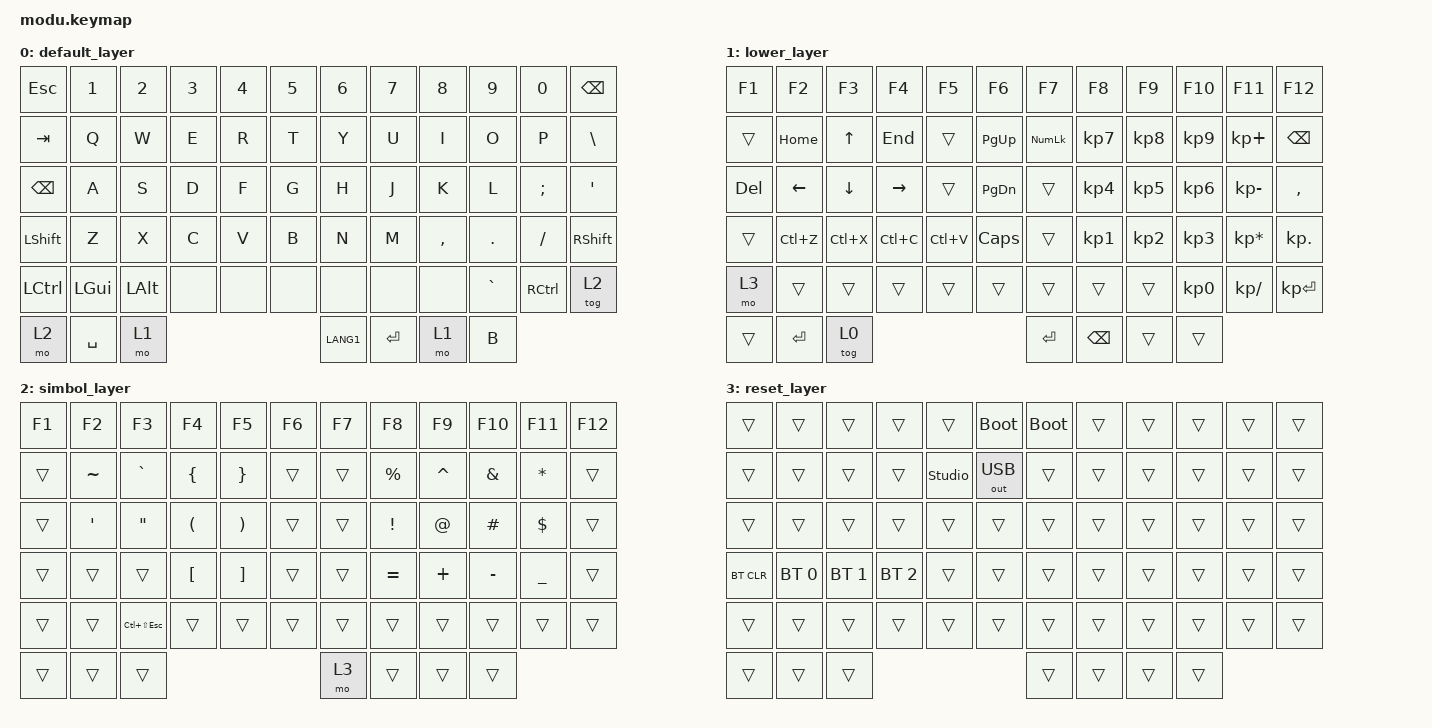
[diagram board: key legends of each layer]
/*
 * Copyright (c) 2026 EKS Inc.
 * Created by Ryu.
 * SPDX-License-Identifier: LicenseRef-EKS-NonCommercial-1.0
 *
 * Unofficial modification, based on upstream commit
 * bee0bb4b812f63f279eb67e928accc89600b5904 and customized through
 * Keymap Editor for GitHub Actions builds.
 */

#include <behaviors.dtsi>
#include <dt-bindings/zmk/bt.h>
#include <dt-bindings/zmk/keys.h>
#include <dt-bindings/zmk/outputs.h>
#include "modu-layouts.dtsi"

/ {
    combos {
        compatible = "zmk,combos";

        reset {
            bindings = <&sys_reset>;
            key-positions = <48 5 6>;
            layers = <1>;
        };
    };

    keymap {
        compatible = "zmk,keymap";

        default_layer {
            // -----------------------------------------------------------------
            // |ESC | 1  | 2  | 3  | 4  | 5  |   | 6  | 7  | 8  | 9  | 0  |DEL |
            // |TAB | Q  | W  | E  | R  | T  |   | Y  | U  | I  | O  | P  |HOME|
            // |CAPS| A  | S  | D  | F  | G  |   | H  | J  | K  | L  | ;  |PGUP|
            // |LSFT| Z  | X  | C  | V  | B  |   | N  | M  | ,  | .  | /  |PGDN|
            // |LCTL|LALT|LGUI|                                 |RALT|RCTL|END |
            //                |LANG|SPC |MO1 |   |BSPC|RET |MO1 | B  |

            bindings = <
&kp ESCAPE     &kp N1        &kp N2        &kp N3  &kp N4  &kp N5  &kp N6     &kp N7   &kp N8     &kp N9     &kp N0     &kp BACKSPACE
&kp TAB        &kp Q         &kp W         &kp E   &kp R   &kp T   &kp Y      &kp U    &kp I      &kp O      &kp P      &kp BACKSLASH
&kp BACKSPACE  &kp A         &kp S         &kp D   &kp F   &kp G   &kp H      &kp J    &kp K      &kp L      &kp SEMI   &kp SINGLE_QUOTE
&kp LSHFT      &kp Z         &kp X         &kp C   &kp V   &kp B   &kp N      &kp M    &kp COMMA  &kp DOT    &kp FSLH   &kp RIGHT_SHIFT
&kp LCTRL      &kp LEFT_GUI  &kp LEFT_ALT  &none   &none   &none   &none      &none    &none      &kp GRAVE  &kp RCTRL  &tog 2
&mo 2          &kp SPACE     &mo 1                                 &kp LANG1  &kp RET  &mo 1      &kp B
            >;
        };

        lower_layer {
            bindings = <
&kp F1   &kp F2     &kp F3     &kp F4     &kp F5     &kp F6         &kp F7          &kp F8         &kp F9     &kp F10    &kp F11          &kp F12
&trans   &kp HOME   &kp UP     &kp END    &trans     &kp PAGE_UP    &kp KP_NUMLOCK  &kp KP_N7      &kp KP_N8  &kp KP_N9  &kp KP_PLUS      &kp BSPC
&kp DEL  &kp LEFT   &kp DOWN   &kp RIGHT  &trans     &kp PAGE_DOWN  &trans          &kp KP_N4      &kp KP_N5  &kp KP_N6  &kp KP_MINUS     &kp COMMA
&trans   &kp LC(Z)  &kp LC(X)  &kp LC(C)  &kp LC(V)  &kp CAPSLOCK   &trans          &kp KP_N1      &kp KP_N2  &kp KP_N3  &kp KP_MULTIPLY  &kp KP_DOT
&mo 3    &trans     &trans     &trans     &trans     &trans         &trans          &trans         &trans     &kp KP_N0  &kp KP_DIVIDE    &kp KP_ENTER
&trans   &kp ENTER  &tog 0                                          &kp ENTER       &kp BACKSPACE  &trans     &trans
            >;
        };

        simbol_layer {
            bindings = <
&kp F1  &kp F2            &kp F3              &kp F4                &kp F5                 &kp F6  &kp F7  &kp F8           &kp F9       &kp F10        &kp F11         &kp F12
&trans  &kp TILDE         &kp GRAVE           &kp LEFT_BRACE        &kp RIGHT_BRACE        &trans  &trans  &kp PERCENT      &kp CARET    &kp AMPERSAND  &kp ASTERISK    &trans
&trans  &kp SINGLE_QUOTE  &kp DOUBLE_QUOTES   &kp LEFT_PARENTHESIS  &kp RIGHT_PARENTHESIS  &trans  &trans  &kp EXCLAMATION  &kp AT_SIGN  &kp HASH       &kp DOLLAR      &trans
&trans  &trans            &trans              &kp LEFT_BRACKET      &kp RIGHT_BRACKET      &trans  &trans  &kp EQUAL        &kp PLUS     &kp MINUS      &kp UNDERSCORE  &trans
&trans  &trans            &kp LC(LS(ESCAPE))  &trans                &trans                 &trans  &trans  &trans           &trans       &trans         &trans          &trans
&trans  &trans            &trans                                                                   &mo 3   &trans           &trans       &trans
            >;
        };

        reset_layer {
            // Hold layer 1, then the left Ctrl position (&mo 2).
            // R: Studio unlock; T: USB output. Existing 5/6 bootloader keys remain.

            bindings = <
&trans      &trans        &trans        &trans        &trans          &bootloader   &bootloader  &trans  &trans  &trans  &trans  &trans
&trans      &trans        &trans        &trans        &studio_unlock  &out OUT_USB  &trans       &trans  &trans  &trans  &trans  &trans
&trans      &trans        &trans        &trans        &trans          &trans        &trans       &trans  &trans  &trans  &trans  &trans
&bt BT_CLR  &bt BT_SEL 0  &bt BT_SEL 1  &bt BT_SEL 2  &trans          &trans        &trans       &trans  &trans  &trans  &trans  &trans
&trans      &trans        &trans        &trans        &trans          &trans        &trans       &trans  &trans  &trans  &trans  &trans
&trans      &trans        &trans                                                    &trans       &trans  &trans  &trans
            >;
        };
    };
};
